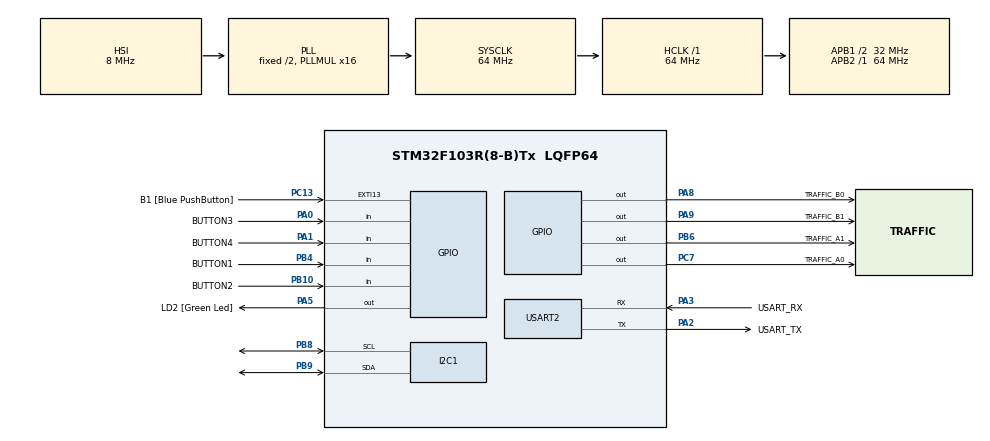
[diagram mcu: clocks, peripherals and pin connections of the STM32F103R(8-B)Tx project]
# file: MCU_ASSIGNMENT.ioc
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Mcu.Family=STM32F1
Mcu.Name=STM32F103R(8-B)Tx
Mcu.Package=LQFP64
NVIC.EXTI15_10_IRQn=true\:0\:0\:false\:false\:true\:true\:true
NVIC.PriorityGroup=NVIC_PRIORITYGROUP_4
NVIC.TIM2_IRQn=true\:0\:0\:false\:false\:true\:true\:true
PA0-WKUP.GPIO_Label=BUTTON3
PA0-WKUP.GPIO_PuPd=GPIO_PULLUP
PA0-WKUP.Signal=GPIO_Input
PA1.GPIO_Label=BUTTON4
PA1.GPIO_PuPd=GPIO_PULLUP
PA1.Signal=GPIO_Input
PA13.GPIO_Label=TMS
PA13.Mode=Serial_Wire
PA13.Signal=SYS_JTMS-SWDIO
PA14.GPIO_Label=TCK
PA14.Mode=Serial_Wire
PA14.Signal=SYS_JTCK-SWCLK
PA2.GPIO_Label=USART_TX
PA2.GPIO_Mode=GPIO_MODE_AF_PP
PA2.GPIO_PuPd=GPIO_NOPULL
PA2.GPIO_Speed=GPIO_SPEED_FREQ_LOW
PA2.Mode=Asynchronous
PA2.Signal=USART2_TX
PA3.GPIO_Label=USART_RX
PA3.GPIO_Mode=GPIO_MODE_AF_PP
PA3.GPIO_PuPd=GPIO_NOPULL
PA3.GPIO_Speed=GPIO_SPEED_FREQ_LOW
PA3.Mode=Asynchronous
PA3.Signal=USART2_RX
PA5.GPIO_Label=LD2 [Green Led]
PA5.GPIO_ModeDefaultOutputPP=GPIO_MODE_OUTPUT_PP
PA5.GPIO_PuPd=GPIO_NOPULL
PA5.GPIO_Speed=GPIO_SPEED_FREQ_LOW
PA5.Signal=GPIO_Output
PA8.GPIO_Label=TRAFFIC_B0
PA8.Signal=GPIO_Output
PA9.GPIO_Label=TRAFFIC_B1
PA9.Signal=GPIO_Output
PB10.GPIO_Label=BUTTON2
PB10.GPIO_PuPd=GPIO_PULLUP
PB10.Signal=GPIO_Input
PB3.GPIO_Label=SWO
PB3.Signal=SYS_JTDO-TRACESWO
PB4.GPIO_Label=BUTTON1
PB4.GPIO_PuPd=GPIO_PULLUP
PB4.Signal=GPIO_Input
PB6.GPIO_Label=TRAFFIC_A1
PB6.Signal=GPIO_Output
PB8.Mode=I2C
PB8.Signal=I2C1_SCL
PB9.Mode=I2C
PB9.Signal=I2C1_SDA
PC13-TAMPER-RTC.GPIO_Label=B1 [Blue PushButton]
PC13-TAMPER-RTC.GPIO_PuPd=GPIO_NOPULL
PC13-TAMPER-RTC.Signal=GPXTI13
PC14-OSC32_IN.Mode=LSE-External-Oscillator
PC14-OSC32_IN.Signal=RCC_OSC32_IN
PC15-OSC32_OUT.Mode=LSE-External-Oscillator
PC15-OSC32_OUT.Signal=RCC_OSC32_OUT
PC7.GPIO_Label=TRAFFIC_A0
PC7.Signal=GPIO_Output
PD0-OSC_IN.Mode=HSE-External-Clock-Source
PD0-OSC_IN.Signal=RCC_OSC_IN
PD1-OSC_OUT.Mode=HSE-External-Clock-Source
PD1-OSC_OUT.Signal=RCC_OSC_OUT
ProjectManager.HeapSize=0x200
ProjectManager.StackSize=0x400
ProjectManager.TargetToolchain=STM32CubeIDE
RCC.AHBFreq_Value=64000000
RCC.APB1CLKDivider=RCC_HCLK_DIV2
RCC.APB1Freq_Value=32000000
RCC.APB1TimFreq_Value=64000000
RCC.APB2Freq_Value=64000000
RCC.APB2TimFreq_Value=64000000
RCC.HCLKFreq_Value=64000000
RCC.PLLMUL=RCC_PLL_MUL16
RCC.RTCClockSelection=RCC_RTCCLKSOURCE_LSE
RCC.SYSCLKFreq_VALUE=64000000
RCC.SYSCLKSource=RCC_SYSCLKSOURCE_PLLCLK
RCC.USBFreq_Value=64000000
TIM2.Period=9
TIM2.Prescaler=6399
USART2.VirtualMode=VM_ASYNC
VP_TIM2_VS_ClockSourceINT.Mode=Internal
board=NUCLEO-F103RB

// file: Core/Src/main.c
/* USER CODE BEGIN Header */
/**
  ******************************************************************************
  * @file           : main.c
  * @brief          : Main program body
  ******************************************************************************
  * @attention
  *
  * <h2><center>&copy; Copyright (c) 2025 STMicroelectronics.
  * All rights reserved.</center></h2>
  *
  * This software component is licensed by ST under BSD 3-Clause license,
  * the "License"; You may not use this file except in compliance with the
  * License. You may obtain a copy of the License at:
  *                        opensource.org/licenses/BSD-3-Clause
  *
  ******************************************************************************
  */
/* USER CODE END Header */
#include "main.h"

/* USER CODE BEGIN Includes */
#include "global.h"
#include "software_timer.h"
#include "scheduler.h"
#include "task.h"
#include "fsm_automatic.h"
#include "lcd_i2c.h"
#include "fsm_handle.h"
#include "fsm_manual.h"
#include "task.h"
/* USER CODE END Includes */

I2C_HandleTypeDef hi2c1;

TIM_HandleTypeDef htim2;

UART_HandleTypeDef huart2;

void SystemClock_Config(void);
static void MX_GPIO_Init(void);
static void MX_USART2_UART_Init(void);
static void MX_I2C1_Init(void);
static void MX_TIM2_Init(void);

/* USER CODE BEGIN 0 */
uint8_t I2C_Find_Address(void)
{
    for (uint8_t addr = 1; addr < 127; addr++)
    {
        if (HAL_I2C_IsDeviceReady(&hi2c1, (addr << 1), 3, 10) == HAL_OK)
        {
            return addr;
        }
    }
    return 0;
}

/* USER CODE END 0 */

int main(void)
{

  /* MCU Configuration--------------------------------------------------------*/

  /* Reset of all peripherals, Initializes the Flash interface and the Systick. */
  HAL_Init();

  /* Configure the system clock */
  SystemClock_Config();

  /* Initialize all configured peripherals */
  MX_GPIO_Init();
  MX_USART2_UART_Init();
  MX_I2C1_Init();
  MX_TIM2_Init();
  /* USER CODE BEGIN 2 */
  HAL_TIM_Base_Start_IT(&htim2);
  /* USER CODE END 2 */

  /* Infinite loop */
  /* USER CODE BEGIN WHILE */
  uint8_t address = I2C_Find_Address();
  HAL_I2C_DeInit(&hi2c1);
  I2C_init(GPIOB, GPIO_PIN_9, GPIOB, GPIO_PIN_8);
  lcd_init(address);
  lcd_clear();
  lcd_center_text(0,"TRAFFIC LIGHT");
  lcd_center_text(1,"SYSTEM START");
  HAL_Delay(2000);
  lcd_clear();
  SCH_Add_Task(TASK_LED_BLINK, 0, 500);
  SCH_Add_Task(TASK_FSM, 0, 10);
  SCH_Add_Task(TASK_SoftwareTimer, 0, 10);
  SCH_Add_Task(TASK_ScanButtons, 0, 10);

  while (1)
  {
    /* USER CODE END WHILE */
	SCH_Dispatch_Tasks();
  }
}

void SystemClock_Config(void)
{
  RCC_OscInitTypeDef RCC_OscInitStruct = {0};
  RCC_ClkInitTypeDef RCC_ClkInitStruct = {0};

  /** Initializes the RCC Oscillators according to the specified parameters
  * in the RCC_OscInitTypeDef structure.
  */
  RCC_OscInitStruct.OscillatorType = RCC_OSCILLATORTYPE_HSI;
  RCC_OscInitStruct.HSIState = RCC_HSI_ON;
  RCC_OscInitStruct.HSICalibrationValue = RCC_HSICALIBRATION_DEFAULT;
  RCC_OscInitStruct.PLL.PLLState = RCC_PLL_ON;
  RCC_OscInitStruct.PLL.PLLSource = RCC_PLLSOURCE_HSI_DIV2;
  RCC_OscInitStruct.PLL.PLLMUL = RCC_PLL_MUL16;
  if (HAL_RCC_OscConfig(&RCC_OscInitStruct) != HAL_OK)
  {
    Error_Handler();
  }
  /** Initializes the CPU, AHB and APB buses clocks
  */
  RCC_ClkInitStruct.ClockType = RCC_CLOCKTYPE_HCLK|RCC_CLOCKTYPE_SYSCLK
                              |RCC_CLOCKTYPE_PCLK1|RCC_CLOCKTYPE_PCLK2;
  RCC_ClkInitStruct.SYSCLKSource = RCC_SYSCLKSOURCE_PLLCLK;
  RCC_ClkInitStruct.AHBCLKDivider = RCC_SYSCLK_DIV1;
  RCC_ClkInitStruct.APB1CLKDivider = RCC_HCLK_DIV2;
  RCC_ClkInitStruct.APB2CLKDivider = RCC_HCLK_DIV1;

  if (HAL_RCC_ClockConfig(&RCC_ClkInitStruct, FLASH_LATENCY_2) != HAL_OK)
  {
    Error_Handler();
  }
}

static void MX_I2C1_Init(void)
{

  hi2c1.Instance = I2C1;
  hi2c1.Init.ClockSpeed = 100000;
  hi2c1.Init.DutyCycle = I2C_DUTYCYCLE_2;
  hi2c1.Init.OwnAddress1 = 0;
  hi2c1.Init.AddressingMode = I2C_ADDRESSINGMODE_7BIT;
  hi2c1.Init.DualAddressMode = I2C_DUALADDRESS_DISABLE;
  hi2c1.Init.OwnAddress2 = 0;
  hi2c1.Init.GeneralCallMode = I2C_GENERALCALL_DISABLE;
  hi2c1.Init.NoStretchMode = I2C_NOSTRETCH_DISABLE;
  if (HAL_I2C_Init(&hi2c1) != HAL_OK)
  {
    Error_Handler();
  }

}

static void MX_TIM2_Init(void)
{

  TIM_ClockConfigTypeDef sClockSourceConfig = {0};
  TIM_MasterConfigTypeDef sMasterConfig = {0};

  htim2.Instance = TIM2;
  htim2.Init.Prescaler = 6399;
  htim2.Init.CounterMode = TIM_COUNTERMODE_UP;
  htim2.Init.Period = 9;
  htim2.Init.ClockDivision = TIM_CLOCKDIVISION_DIV1;
  htim2.Init.AutoReloadPreload = TIM_AUTORELOAD_PRELOAD_DISABLE;
  if (HAL_TIM_Base_Init(&htim2) != HAL_OK)
  {
    Error_Handler();
  }
  sClockSourceConfig.ClockSource = TIM_CLOCKSOURCE_INTERNAL;
  if (HAL_TIM_ConfigClockSource(&htim2, &sClockSourceConfig) != HAL_OK)
  {
    Error_Handler();
  }
  sMasterConfig.MasterOutputTrigger = TIM_TRGO_RESET;
  sMasterConfig.MasterSlaveMode = TIM_MASTERSLAVEMODE_DISABLE;
  if (HAL_TIMEx_MasterConfigSynchronization(&htim2, &sMasterConfig) != HAL_OK)
  {
    Error_Handler();
  }

}

static void MX_USART2_UART_Init(void)
{

  huart2.Instance = USART2;
  huart2.Init.BaudRate = 115200;
  huart2.Init.WordLength = UART_WORDLENGTH_8B;
  huart2.Init.StopBits = UART_STOPBITS_1;
  huart2.Init.Parity = UART_PARITY_NONE;
  huart2.Init.Mode = UART_MODE_TX_RX;
  huart2.Init.HwFlowCtl = UART_HWCONTROL_NONE;
  huart2.Init.OverSampling = UART_OVERSAMPLING_16;
  if (HAL_UART_Init(&huart2) != HAL_OK)
  {
    Error_Handler();
  }

}

static void MX_GPIO_Init(void)
{
  GPIO_InitTypeDef GPIO_InitStruct = {0};

  /* GPIO Ports Clock Enable */
  __HAL_RCC_GPIOC_CLK_ENABLE();
  __HAL_RCC_GPIOD_CLK_ENABLE();
  __HAL_RCC_GPIOA_CLK_ENABLE();
  __HAL_RCC_GPIOB_CLK_ENABLE();

  /*Configure GPIO pin Output Level */
  HAL_GPIO_WritePin(GPIOA, LD2_Pin|TRAFFIC_B0_Pin|TRAFFIC_B1_Pin, GPIO_PIN_RESET);

  /*Configure GPIO pin Output Level */
  HAL_GPIO_WritePin(TRAFFIC_A0_GPIO_Port, TRAFFIC_A0_Pin, GPIO_PIN_RESET);

  /*Configure GPIO pin Output Level */
  HAL_GPIO_WritePin(TRAFFIC_A1_GPIO_Port, TRAFFIC_A1_Pin, GPIO_PIN_RESET);

  /*Configure GPIO pin : B1_Pin */
  GPIO_InitStruct.Pin = B1_Pin;
  GPIO_InitStruct.Mode = GPIO_MODE_IT_RISING;
  GPIO_InitStruct.Pull = GPIO_NOPULL;
  HAL_GPIO_Init(B1_GPIO_Port, &GPIO_InitStruct);

  /*Configure GPIO pins : BUTTON3_Pin BUTTON4_Pin */
  GPIO_InitStruct.Pin = BUTTON3_Pin|BUTTON4_Pin;
  GPIO_InitStruct.Mode = GPIO_MODE_INPUT;
  GPIO_InitStruct.Pull = GPIO_PULLUP;
  HAL_GPIO_Init(GPIOA, &GPIO_InitStruct);

  /*Configure GPIO pins : LD2_Pin TRAFFIC_B0_Pin TRAFFIC_B1_Pin */
  GPIO_InitStruct.Pin = LD2_Pin|TRAFFIC_B0_Pin|TRAFFIC_B1_Pin;
  GPIO_InitStruct.Mode = GPIO_MODE_OUTPUT_PP;
  GPIO_InitStruct.Pull = GPIO_NOPULL;
  GPIO_InitStruct.Speed = GPIO_SPEED_FREQ_LOW;
  HAL_GPIO_Init(GPIOA, &GPIO_InitStruct);

  /*Configure GPIO pins : BUTTON2_Pin BUTTON1_Pin */
  GPIO_InitStruct.Pin = BUTTON2_Pin|BUTTON1_Pin;
  GPIO_InitStruct.Mode = GPIO_MODE_INPUT;
  GPIO_InitStruct.Pull = GPIO_PULLUP;
  HAL_GPIO_Init(GPIOB, &GPIO_InitStruct);

  /*Configure GPIO pin : TRAFFIC_A0_Pin */
  GPIO_InitStruct.Pin = TRAFFIC_A0_Pin;
  GPIO_InitStruct.Mode = GPIO_MODE_OUTPUT_PP;
  GPIO_InitStruct.Pull = GPIO_NOPULL;
  GPIO_InitStruct.Speed = GPIO_SPEED_FREQ_LOW;
  HAL_GPIO_Init(TRAFFIC_A0_GPIO_Port, &GPIO_InitStruct);

  /*Configure GPIO pin : TRAFFIC_A1_Pin */
  GPIO_InitStruct.Pin = TRAFFIC_A1_Pin;
  GPIO_InitStruct.Mode = GPIO_MODE_OUTPUT_PP;
  GPIO_InitStruct.Pull = GPIO_NOPULL;
  GPIO_InitStruct.Speed = GPIO_SPEED_FREQ_LOW;
  HAL_GPIO_Init(TRAFFIC_A1_GPIO_Port, &GPIO_InitStruct);

  /* EXTI interrupt init*/
  HAL_NVIC_SetPriority(EXTI15_10_IRQn, 0, 0);
  HAL_NVIC_EnableIRQ(EXTI15_10_IRQn);

}

/* USER CODE BEGIN 4 */
void HAL_TIM_PeriodElapsedCallback(TIM_HandleTypeDef *htim){
		 SCH_Update();
}
/* USER CODE END 4 */

void Error_Handler(void)
{
  __disable_irq();
  while (1)
  {
  }
}

/************************ (C) COPYRIGHT STMicroelectronics *****END OF FILE****/
